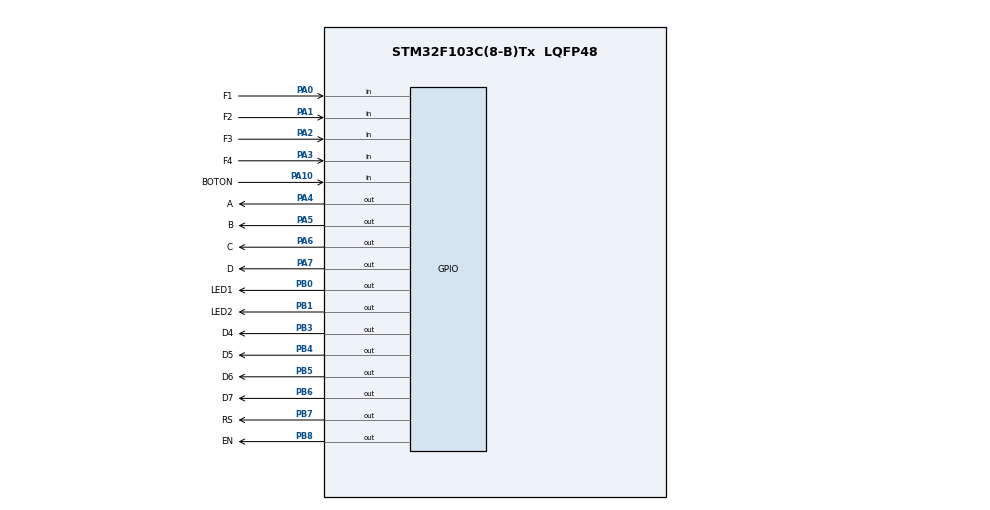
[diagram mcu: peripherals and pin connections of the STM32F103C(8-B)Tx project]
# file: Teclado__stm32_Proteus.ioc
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Mcu.Family=STM32F1
Mcu.Name=STM32F103C(8-B)Tx
Mcu.Package=LQFP48
NVIC.PriorityGroup=NVIC_PRIORITYGROUP_4
NVIC.TIM2_IRQn=true\:0\:0\:false\:false\:true\:true\:true\:true
NVIC.TIM4_IRQn=true\:0\:0\:false\:false\:true\:true\:true\:true
PA0-WKUP.GPIO_Label=F1
PA0-WKUP.GPIO_PuPd=GPIO_PULLDOWN
PA0-WKUP.Signal=GPIO_Input
PA1.GPIO_Label=F2
PA1.GPIO_PuPd=GPIO_PULLDOWN
PA1.Signal=GPIO_Input
PA10.GPIO_Label=BOTON
PA10.Signal=GPIO_Input
PA2.GPIO_Label=F3
PA2.GPIO_PuPd=GPIO_PULLDOWN
PA2.Signal=GPIO_Input
PA3.GPIO_Label=F4
PA3.GPIO_PuPd=GPIO_PULLDOWN
PA3.Signal=GPIO_Input
PA4.GPIO_Label=A
PA4.Signal=GPIO_Output
PA5.GPIO_Label=B
PA5.Signal=GPIO_Output
PA6.GPIO_Label=C
PA6.Signal=GPIO_Output
PA7.GPIO_Label=D
PA7.Signal=GPIO_Output
PB0.GPIO_Label=LED1
PB0.Signal=GPIO_Output
PB1.GPIO_Label=LED2
PB1.Signal=GPIO_Output
PB3.GPIO_Label=D4
PB3.Signal=GPIO_Output
PB4.GPIO_Label=D5
PB4.Signal=GPIO_Output
PB5.GPIO_Label=D6
PB5.Signal=GPIO_Output
PB6.GPIO_Label=D7
PB6.Signal=GPIO_Output
PB7.GPIO_Label=RS
PB7.Signal=GPIO_Output
PB8.GPIO_Label=EN
PB8.Signal=GPIO_Output
PC14-OSC32_IN.Mode=LSE-External-Oscillator
PC14-OSC32_IN.Signal=RCC_OSC32_IN
PC15-OSC32_OUT.Mode=LSE-External-Oscillator
PC15-OSC32_OUT.Signal=RCC_OSC32_OUT
ProjectManager.HeapSize=0x200
ProjectManager.StackSize=0x400
ProjectManager.TargetToolchain=STM32CubeIDE
RCC.APB1Freq_Value=8000000
RCC.APB2Freq_Value=8000000
TIM2.AutoReloadPreload=TIM_AUTORELOAD_PRELOAD_ENABLE
TIM2.Period=8000-1
TIM2.Prescaler=1-1
TIM4.Period=0xffff-1
TIM4.Prescaler=8-1
VP_SYS_VS_ND.Mode=No_Debug
VP_TIM2_VS_ClockSourceINT.Mode=Internal
VP_TIM4_VS_ClockSourceINT.Mode=Internal
board=custom

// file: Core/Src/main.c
/* USER CODE BEGIN Header */
/**
  ******************************************************************************
  * @file           : main.c
  * @brief          : Main program body
  ******************************************************************************
  * @attention
  *
  * Copyright (c) 2025 STMicroelectronics.
  * All rights reserved.
  *
  * This software is licensed under terms that can be found in the LICENSE file
  * in the root directory of this software component.
  * If no LICENSE file comes with this software, it is provided AS-IS.
  *
  ******************************************************************************
  */
/* USER CODE END Header */
#include "main.h"

/* USER CODE BEGIN Includes */
#include <stdio.h>
#include "lcd.h"
#include "stdint.h"
#include <ctype.h>
#include <keypad_X2.h>
#include <keypad_X3.h>
#include "string.h"

uint8_t segment[10]={  //125
63,6,91,79,102,109,125,7,127,103
};

/* USER CODE END Includes */

TIM_HandleTypeDef htim4;
TIM_HandleTypeDef htim2;

/* USER CODE BEGIN PV */

static volatile uint16_t tim2_ms_ticks = 0, tim2_ms_ticks2 = 0;
static volatile uint8_t systick_50ms_ticks = 0;

char txt3[] = "Lcd4bit:";
char texto[] = "VIEJO PIC16F877A";     // Usando 'const' No muestra el texto
char Txt[20];

//int res_=0;
int retardo = 500; // en 'msecs' .0-> 65535
char retardo_s[5];
char kp, tecla;
char pulsador_kp;

enum teclado_estado {E1, E2, E3, E4, Efin};
uint8_t estado_teclado= E1;

#define    LED1(x)    HAL_GPIO_WritePin(GPIOB, GPIO_PIN_0, x) // PUERTOB
#define    LED2(x)    HAL_GPIO_WritePin(GPIOB, GPIO_PIN_1, x) // PUERTOB
#define    but     		HAL_GPIO_ReadPin(GPIOA, GPIO_PIN_10) // PUERTOA
//(x == 1) ? (GPIO_PIN_SET) : (GPIO_PIN_RESET)
//  == GPIO_PIN_SET

int StrToInt(char *s)
{
    int i=0, sal=0;
    while(s[i]!=0){
        sal = sal*10 + (s[i++]-48);
    }
    return sal;
}
/*void Retardo_ms(int n)
{
     int i;
     for(i=0; i<n; i++){
         Delay_1ms();
     }
}*/

void __delay_us(int32_t delay)
{
		uint16_t tickstart;
		//__HAL_TIM_SetCounter(&htim4, 0);
		tickstart = __HAL_TIM_GET_COUNTER(&htim4);
    while((__HAL_TIM_GET_COUNTER(&htim4)-tickstart) < delay);
}

void __delay_us2(int32_t delay)
{
		volatile uint32_t i;
		for(i= 5*delay; i!=0; i--);

}

void __delay_us0(int32_t delay)
{
		HAL_Delay(1);
}

/*
void Keypad_Key_Click(void)
{
    HAL_GPIO_ReadPin(GPIOA,
}*/

void retardo_teclado(uint32_t Delay)
{
  uint32_t tickstart = HAL_GetTick();
  uint32_t wait = Delay;

  /* Add a freq to guarantee minimum wait */
  if (wait < HAL_MAX_DELAY)
  {
    wait += (uint32_t)(uwTickFreq);
  }

  while ((HAL_GetTick() - tickstart) < wait)
  {
  }
}

/* USER CODE END PV */

void SystemClock_Config(void);
static void MX_GPIO_Init(void);
static void MX_TIM4_Init(void);
static void MX_TIM2_Init(void);

int main(void)
{

  /* USER CODE BEGIN 1 */
    char c;
  /* USER CODE END 1 */

  /* MCU Configuration--------------------------------------------------------*/

  /* Reset of all peripherals, Initializes the Flash interface and the Systick. */
  HAL_Init();

  /* Configure the system clock */
  SystemClock_Config();

  /* Initialize all configured peripherals */
  MX_GPIO_Init();
  MX_TIM4_Init();
  MX_TIM2_Init();
  /* USER CODE BEGIN 2 */

	  HAL_TIM_Base_Start(&htim4);
		__HAL_TIM_SetCounter(&htim4, 0);
    if (HAL_TIM_Base_Start_IT(&htim2) != HAL_OK)
    {
      Error_Handler();
    }

    //Keypad_Init();										// PUERTOA

    Lcd_Init();       // Initialize Lcd
    Delay_ms(15);     // aguarda a que el Lcd se estabilice

    Lcd_Clear(); //Lcd_Cmd(_LCD_CLEAR);               // Clear display
    Lcd_NoBlink(); //Lcd_Cmd(_LCD_CURSOR_OFF);          // Cursor off

    Lcd_Set_Cursor(1,1);
    Lcd_Write_String(txt3);                 // Write text in first row
		Lcd_Set_Cursor(2,1);
    Lcd_Write_String("PIC  es la onda!");                 // Write text in first row
    c = '0';

  /* USER CODE END 2 */

  /* Infinite loop */
  while (1)
  {

    /* USER CODE BEGIN 3 */

		do {
			kp = (char)Keypad_Get_Char_stm32();
			if(!isdigit(c)){// && (atoi(c)>9)){
					 c = '0';
			}
			Lcd_Set_Cursor(1, 15);
			Lcd_Write_Char(kp);
			Lcd_Set_Cursor(1, 16);
			Lcd_Write_Char(c++);

			/*if (but == 0){// ENTRA aca  SIN Pulsar  el boton.
				 Lcd_Set_Cursor(2,1);
				 Lcd_Write_String("                ");
				 sprintf(Txt, "%i", retardo);
				 Lcd_Set_Cursor(2, 1);
				 Lcd_Write_String(Txt);
			} */
      // retardo = 500; // modif retardo aqui Retardo_ms(retardo);
		} while(!kp);

		tecla = kp;
    // Retardo 50 ms

		//Lcd_Chr(1,9,tecla);
		if(tecla == '='){
				if(retardo_s[0] != 0)
						retardo = StrToInt(retardo_s);
		}
		if(!isdigit(tecla)){
				estado_teclado = Efin;
		}

		switch(estado_teclado){
				case E1: retardo_s[0] = tecla;
								 retardo_s[1] = 0;
								 Lcd_Set_Cursor(1,11);
								 Lcd_Write_Char(tecla);
								 estado_teclado = E2;
								 break;
				case E2: retardo_s[1] = tecla;
								 retardo_s[2] = 0;
								 Lcd_Set_Cursor(1,12);
								 Lcd_Write_Char(tecla);
								 estado_teclado = E3;
								 break;
				case E3: retardo_s[2] = tecla;
								 retardo_s[3] = 0;
								 Lcd_Set_Cursor(1,13);
								 Lcd_Write_Char(tecla);
								 estado_teclado = E4;
								 break;
				case E4: retardo_s[3] = tecla;
								 retardo_s[4] = 0;
								 Lcd_Set_Cursor(1,14);
								 Lcd_Write_Char(tecla);
								 estado_teclado = Efin;
								 break;
				case Efin:
								 Lcd_Set_Cursor(1,11);
								 Lcd_Write_String("    ");
								 //retardo = StrToInt(retardo_s);
								 retardo_s[0] = 0;
								 estado_teclado = E1;
								 break;
		}

//    Lcd_Out(2, 9, retardo_s);

  }
  /* USER CODE END 3 */
}

void SystemClock_Config(void)
{
  RCC_OscInitTypeDef RCC_OscInitStruct = {0};
  RCC_ClkInitTypeDef RCC_ClkInitStruct = {0};

  /** Initializes the RCC Oscillators according to the specified parameters
  * in the RCC_OscInitTypeDef structure.
  */
  RCC_OscInitStruct.OscillatorType = RCC_OSCILLATORTYPE_HSI;
  RCC_OscInitStruct.HSIState = RCC_HSI_ON;
  RCC_OscInitStruct.HSICalibrationValue = RCC_HSICALIBRATION_DEFAULT;
  RCC_OscInitStruct.PLL.PLLState = RCC_PLL_NONE;
  if (HAL_RCC_OscConfig(&RCC_OscInitStruct) != HAL_OK)
  {
    Error_Handler();
  }

  /** Initializes the CPU, AHB and APB buses clocks
  */
  RCC_ClkInitStruct.ClockType = RCC_CLOCKTYPE_HCLK|RCC_CLOCKTYPE_SYSCLK
                              |RCC_CLOCKTYPE_PCLK1|RCC_CLOCKTYPE_PCLK2;
  RCC_ClkInitStruct.SYSCLKSource = RCC_SYSCLKSOURCE_HSI;
  RCC_ClkInitStruct.AHBCLKDivider = RCC_SYSCLK_DIV1;
  RCC_ClkInitStruct.APB1CLKDivider = RCC_HCLK_DIV1;
  RCC_ClkInitStruct.APB2CLKDivider = RCC_HCLK_DIV1;

  if (HAL_RCC_ClockConfig(&RCC_ClkInitStruct, FLASH_LATENCY_0) != HAL_OK)
  {
    Error_Handler();
  }
}

static void MX_TIM2_Init(void)
{

  TIM_ClockConfigTypeDef sClockSourceConfig = {0};
  TIM_MasterConfigTypeDef sMasterConfig = {0};

  htim2.Instance = TIM2;
  htim2.Init.Prescaler = 1-1;
  htim2.Init.CounterMode = TIM_COUNTERMODE_UP;
  htim2.Init.Period = 8000-1;
  htim2.Init.ClockDivision = TIM_CLOCKDIVISION_DIV1;
  htim2.Init.AutoReloadPreload = TIM_AUTORELOAD_PRELOAD_ENABLE;
  if (HAL_TIM_Base_Init(&htim2) != HAL_OK)
  {
    Error_Handler();
  }
  sClockSourceConfig.ClockSource = TIM_CLOCKSOURCE_INTERNAL;
  if (HAL_TIM_ConfigClockSource(&htim2, &sClockSourceConfig) != HAL_OK)
  {
    Error_Handler();
  }
  sMasterConfig.MasterOutputTrigger = TIM_TRGO_RESET;
  sMasterConfig.MasterSlaveMode = TIM_MASTERSLAVEMODE_DISABLE;
  if (HAL_TIMEx_MasterConfigSynchronization(&htim2, &sMasterConfig) != HAL_OK)
  {
    Error_Handler();
  }
  /* USER CODE BEGIN TIM2_Init 2 */
    // 4. Configurar NVIC para la interrupción de TIM2
    NVIC_EnableIRQ(TIM2_IRQn);

    // 5. Encender el contador
    TIM2->CR1 |= TIM_CR1_CEN;
  /* USER CODE END TIM2_Init 2 */

}

static void MX_TIM4_Init(void)
{

  TIM_ClockConfigTypeDef sClockSourceConfig = {0};
  TIM_MasterConfigTypeDef sMasterConfig = {0};

  htim4.Instance = TIM4;
  htim4.Init.Prescaler = 8-1;
  htim4.Init.CounterMode = TIM_COUNTERMODE_UP;
  htim4.Init.Period = 0xffff-1;
  htim4.Init.ClockDivision = TIM_CLOCKDIVISION_DIV1;
  htim4.Init.AutoReloadPreload = TIM_AUTORELOAD_PRELOAD_DISABLE;
  if (HAL_TIM_Base_Init(&htim4) != HAL_OK)
  {
    Error_Handler();
  }
  sClockSourceConfig.ClockSource = TIM_CLOCKSOURCE_INTERNAL;
  if (HAL_TIM_ConfigClockSource(&htim4, &sClockSourceConfig) != HAL_OK)
  {
    Error_Handler();
  }
  sMasterConfig.MasterOutputTrigger = TIM_TRGO_RESET;
  sMasterConfig.MasterSlaveMode = TIM_MASTERSLAVEMODE_DISABLE;
  if (HAL_TIMEx_MasterConfigSynchronization(&htim4, &sMasterConfig) != HAL_OK)
  {
    Error_Handler();
  }

}

static void MX_GPIO_Init(void)
{
  GPIO_InitTypeDef GPIO_InitStruct = {0};

  /* GPIO Ports Clock Enable */
  __HAL_RCC_GPIOC_CLK_ENABLE();
  __HAL_RCC_GPIOA_CLK_ENABLE();
  __HAL_RCC_GPIOB_CLK_ENABLE();

  /*Configure GPIO pin Output Level */
  HAL_GPIO_WritePin(GPIOA, A_Pin|B_Pin|C_Pin|D_Pin, GPIO_PIN_RESET);

  /*Configure GPIO pin Output Level */
  HAL_GPIO_WritePin(GPIOB, LED1_Pin|LED2_Pin|D4_Pin|D5_Pin
                          |D6_Pin|D7_Pin|RS_Pin|EN_Pin, GPIO_PIN_RESET);

  /*Configure GPIO pins : F1_Pin F2_Pin F3_Pin F4_Pin */
  GPIO_InitStruct.Pin = F1_Pin|F2_Pin|F3_Pin|F4_Pin;
  GPIO_InitStruct.Mode = GPIO_MODE_INPUT;
  GPIO_InitStruct.Pull = GPIO_PULLDOWN;
  HAL_GPIO_Init(GPIOA, &GPIO_InitStruct);

  /*Configure GPIO pins : A_Pin B_Pin C_Pin D_Pin */
  GPIO_InitStruct.Pin = A_Pin|B_Pin|C_Pin|D_Pin;
  GPIO_InitStruct.Mode = GPIO_MODE_OUTPUT_PP;
  GPIO_InitStruct.Pull = GPIO_NOPULL;
  GPIO_InitStruct.Speed = GPIO_SPEED_FREQ_LOW;
  HAL_GPIO_Init(GPIOA, &GPIO_InitStruct);

  /*Configure GPIO pins : LED1_Pin LED2_Pin D4_Pin D5_Pin
                           D6_Pin D7_Pin RS_Pin EN_Pin */
  GPIO_InitStruct.Pin = LED1_Pin|LED2_Pin|D4_Pin|D5_Pin
                          |D6_Pin|D7_Pin|RS_Pin|EN_Pin;
  GPIO_InitStruct.Mode = GPIO_MODE_OUTPUT_PP;
  GPIO_InitStruct.Pull = GPIO_NOPULL;
  GPIO_InitStruct.Speed = GPIO_SPEED_FREQ_LOW;
  HAL_GPIO_Init(GPIOB, &GPIO_InitStruct);

  /*Configure GPIO pin : BOTON_Pin */
  GPIO_InitStruct.Pin = BOTON_Pin;
  GPIO_InitStruct.Mode = GPIO_MODE_INPUT;
  GPIO_InitStruct.Pull = GPIO_NOPULL;
  HAL_GPIO_Init(BOTON_GPIO_Port, &GPIO_InitStruct);

}

/* USER CODE BEGIN 4 */

static void FuncionCada_retardo_ms(void)
{
  HAL_GPIO_TogglePin(LED1_GPIO_Port, LED1_Pin);
}

void HAL_TIM_PeriodElapsedCallback(TIM_HandleTypeDef *htim)
{
  if (htim->Instance == TIM2){
      /*if (++tim2_ms_ticks >= 50){
          tim2_ms_ticks = 0;
          HAL_GPIO_TogglePin(LED2_GPIO_Port, LED2_Pin);
      }*/
      if (++tim2_ms_ticks2 >= retardo){
          tim2_ms_ticks2 = 0;
          FuncionCada_retardo_ms();
      }
  }
}

void HAL_SYSTICK_Callback(void)
{
  if (++systick_50ms_ticks >= 50U){
    systick_50ms_ticks = 0;
    HAL_GPIO_TogglePin(LED2_GPIO_Port, LED2_Pin);
  }
}

/* USER CODE END 4 */

void Error_Handler(void)
{
  __disable_irq();
  while (1)
  {
  }
}
